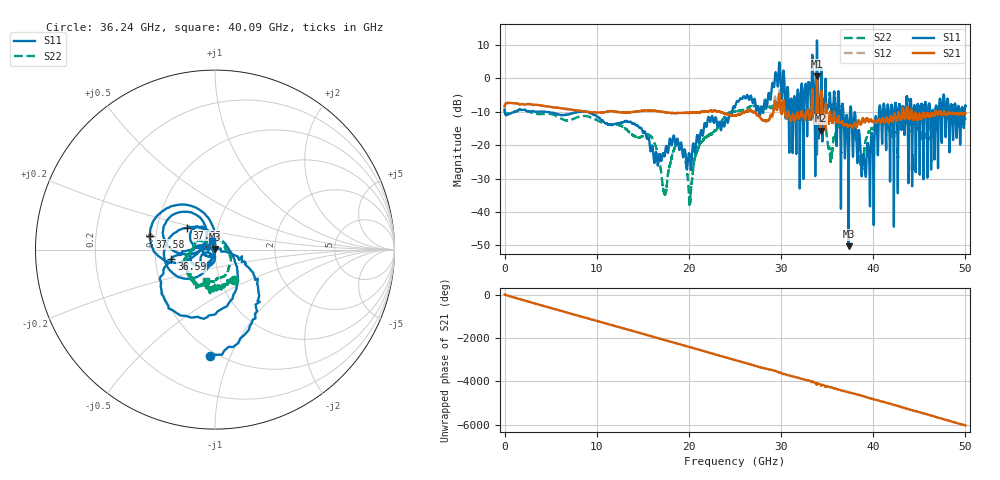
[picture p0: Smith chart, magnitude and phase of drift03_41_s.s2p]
!Created with skrf (http://scikit-rf.org).
# Hz S RI R 50.0
!freq ReS11 ImS11 ReS21 ImS21 ReS12 ImS12 ReS22 ImS22
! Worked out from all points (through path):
!   10001 points, 300 kHz to 50 GHz, reference 50 ohm
!   highest |S21| = 0.60 dB at 33.9 GHz (marker M1); lowest = -15.6 dB at 34.32 GHz (marker M2)
!   group delay of S21, straight-line fit = 335 ps
!   lowest |S11| = -50.2 dB at 37.33 GHz (marker M3), VSWR 1.01, Z = 49.8 + j0.233 ohm
!   |S11| at or under -10 dB: 4.468 GHz to 7.954 GHz (3.485 GHz wide, 56.1 % of centre); 9.017 GHz to 24.7 GHz (15.68 GHz wide, 93 % of centre); 37.62 GHz to 40.62 GHz (3.003 GHz wide, 7.68 % of centre) (the widest 3 of 60)
!   |S22| runs from -37.9 to -5.9 dB; largest |S21 - S12| = 0.11
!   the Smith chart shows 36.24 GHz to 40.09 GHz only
!   S11 on the Smith chart (normalised r, x): 36.24 GHz: 0.46, -0.85; 36.59 GHz: 0.61, -0.07; 37.03 GHz: 0.71, +0.18; 37.58 GHz: 0.46, +0.08; 40.09 GHz: 0.97, +0.09
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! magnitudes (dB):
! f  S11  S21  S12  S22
! 300 kHz  -9.3  -8.4  -8.5  -9.3
! 8.335 GHz  -9.9  -9.8  -9.8  -11.3
! 16.67 GHz  -25.5  -9.8  -9.8  -23.3
! 17.39 GHz  -22.7  -10.1  -10.1  -34.7
! 19.06 GHz  -19.9  -10.3  -10.3  -20.0
! 20.13 GHz  -24.5  -10.3  -10.3  -36.1
! 21.19 GHz  -17.9  -10.1  -10.1  -19.7
! 25 GHz  -8.5  -11.1  -11.1  -9.8
! 31.08 GHz  -6.1  -12.7  -12.7  -10.5
! 33.34 GHz  0.5  -7.5  -7.5  -9.4
! 33.9 GHz  11.4  0.6  0.2  -22.8
! 34.32 GHz  -2.9  -15.6  -15.0  -11.3
! 35.35 GHz  -6.5  -10.5  -10.0  -24.2
! 36.24 GHz  -4.5  -11.7  -11.7  -14.1
! 36.59 GHz  -12.1  -13.1  -13.1  -13.4
! 37.03 GHz  -14.1  -13.9  -13.9  -14.0
! 37.33 GHz  -50.2  -14.3  -14.5  -13.8
! 37.58 GHz  -8.6  -14.0  -13.8  -14.1
! 38.71 GHz  -26.9  -13.4  -13.3  -25.3
! 40.09 GHz  -26.0  -12.6  -12.6  -14.9
! 41.67 GHz  -9.6  -13.3  -13.2  -14.7
! 50 GHz  -8.0  -10.5  -10.6  -12.1
